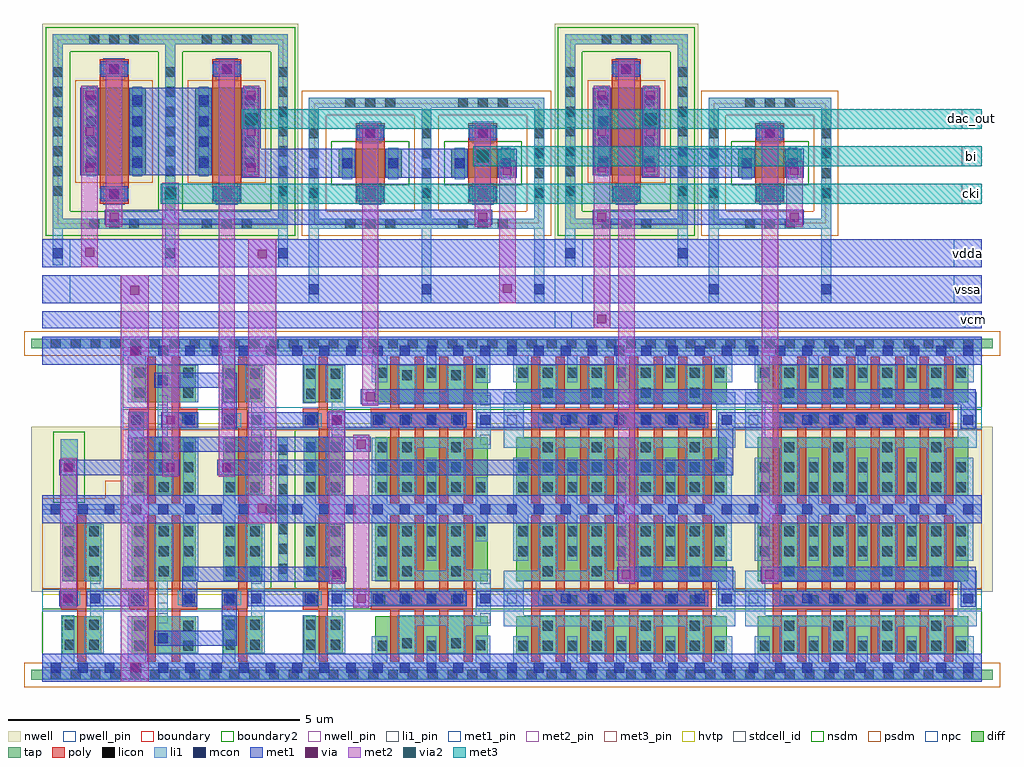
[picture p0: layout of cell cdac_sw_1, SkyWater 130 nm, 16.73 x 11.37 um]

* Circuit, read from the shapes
.subckt cdac_sw_1 bi cki dac_out vcm vdda vssa
XM1 nooverlap_clk_0/sky130_fd_sc_hd__nand2_1_1/B cki vssa vssa sky130_fd_pr__nfet_01v8 w=0.65 l=0.15
XM2 n1 nooverlap_clk_0/sky130_fd_sc_hd__nand2_1_1/B vssa vssa sky130_fd_pr__nfet_01v8 w=0.65 l=0.15
XM3 n2 nooverlap_clk_0/sky130_fd_sc_hd__inv_4_8/A vssa vssa sky130_fd_pr__nfet_01v8 w=0.65 l=0.15
XM4 nooverlap_clk_0/sky130_fd_sc_hd__inv_1_4/A nooverlap_clk_0/sky130_fd_sc_hd__inv_4_7/A n1 vssa sky130_fd_pr__nfet_01v8 w=0.65 l=0.15
XM5 nooverlap_clk_0/sky130_fd_sc_hd__inv_1_3/A cki n2 vssa sky130_fd_pr__nfet_01v8 w=0.65 l=0.15
XM6 nooverlap_clk_0/sky130_fd_sc_hd__inv_1_6/A nooverlap_clk_0/sky130_fd_sc_hd__inv_1_4/A vssa vssa sky130_fd_pr__nfet_01v8 w=0.65 l=0.15
XM7 nooverlap_clk_0/sky130_fd_sc_hd__inv_1_5/A nooverlap_clk_0/sky130_fd_sc_hd__inv_1_3/A vssa vssa sky130_fd_pr__nfet_01v8 w=0.65 l=0.15
XM8 nooverlap_clk_0/sky130_fd_sc_hd__inv_4_8/A nooverlap_clk_0/sky130_fd_sc_hd__inv_1_6/A vssa vssa sky130_fd_pr__nfet_01v8 w=0.65 l=0.15
XM9 nooverlap_clk_0/sky130_fd_sc_hd__inv_4_7/A nooverlap_clk_0/sky130_fd_sc_hd__inv_1_5/A vssa vssa sky130_fd_pr__nfet_01v8 w=0.65 l=0.15
XM10 n3 dac_sw_1_1/ck dac_out vssa sky130_fd_pr__nfet_01v8 w=0.5 l=0.5
XM11 nooverlap_clk_0/sky130_fd_sc_hd__inv_8_10/A nooverlap_clk_0/sky130_fd_sc_hd__inv_4_8/A vssa vssa sky130_fd_pr__nfet_01v8 w=0.65 l=0.15 m=4
XM12 nooverlap_clk_0/sky130_fd_sc_hd__inv_8_9/A nooverlap_clk_0/sky130_fd_sc_hd__inv_4_7/A vssa vssa sky130_fd_pr__nfet_01v8 w=0.65 l=0.15 m=4
XM13 vssa bi n3 vssa sky130_fd_pr__nfet_01v8 w=0.5 l=0.5
XM14 nooverlap_clk_0/clkb1 nooverlap_clk_0/sky130_fd_sc_hd__inv_8_10/A vssa vssa sky130_fd_pr__nfet_01v8 w=0.65 l=0.15 m=8
XM15 dac_sw_1_1/ckb nooverlap_clk_0/sky130_fd_sc_hd__inv_8_9/A vssa vssa sky130_fd_pr__nfet_01v8 w=0.65 l=0.15 m=8
XM16 vcm nooverlap_clk_0/clk1 dac_out vssa sky130_fd_pr__nfet_01v8 w=0.5 l=0.5
XM17 nooverlap_clk_0/clk1 nooverlap_clk_0/clkb1 vssa vssa sky130_fd_pr__nfet_01v8 w=0.65 l=0.15 m=8
XM18 dac_sw_1_1/ck dac_sw_1_1/ckb vssa vssa sky130_fd_pr__nfet_01v8 w=0.65 l=0.15 m=8
XM19 nooverlap_clk_0/sky130_fd_sc_hd__nand2_1_1/B cki vdda vdda sky130_fd_pr__pfet_01v8_hvt w=1 l=0.15
XM20 n4 bi vdda vdda sky130_fd_pr__pfet_01v8 w=1.5 l=0.5
XM21 nooverlap_clk_0/sky130_fd_sc_hd__inv_1_4/A nooverlap_clk_0/sky130_fd_sc_hd__nand2_1_1/B vdda vdda sky130_fd_pr__pfet_01v8_hvt w=1 l=0.15
XM22 nooverlap_clk_0/sky130_fd_sc_hd__inv_1_3/A nooverlap_clk_0/sky130_fd_sc_hd__inv_4_8/A vdda vdda sky130_fd_pr__pfet_01v8_hvt w=1 l=0.15
XM23 vdda nooverlap_clk_0/sky130_fd_sc_hd__inv_4_7/A nooverlap_clk_0/sky130_fd_sc_hd__inv_1_4/A vdda sky130_fd_pr__pfet_01v8_hvt w=1 l=0.15
XM24 vdda cki nooverlap_clk_0/sky130_fd_sc_hd__inv_1_3/A vdda sky130_fd_pr__pfet_01v8_hvt w=1 l=0.15
XM25 dac_out dac_sw_1_1/ckb n4 vdda sky130_fd_pr__pfet_01v8 w=1.5 l=0.5
XM26 nooverlap_clk_0/sky130_fd_sc_hd__inv_1_6/A nooverlap_clk_0/sky130_fd_sc_hd__inv_1_4/A vdda vdda sky130_fd_pr__pfet_01v8_hvt w=1 l=0.15
XM27 nooverlap_clk_0/sky130_fd_sc_hd__inv_1_5/A nooverlap_clk_0/sky130_fd_sc_hd__inv_1_3/A vdda vdda sky130_fd_pr__pfet_01v8_hvt w=1 l=0.15
XM28 nooverlap_clk_0/sky130_fd_sc_hd__inv_4_8/A nooverlap_clk_0/sky130_fd_sc_hd__inv_1_6/A vdda vdda sky130_fd_pr__pfet_01v8_hvt w=1 l=0.15
XM29 nooverlap_clk_0/sky130_fd_sc_hd__inv_4_7/A nooverlap_clk_0/sky130_fd_sc_hd__inv_1_5/A vdda vdda sky130_fd_pr__pfet_01v8_hvt w=1 l=0.15
XM30 nooverlap_clk_0/sky130_fd_sc_hd__inv_8_10/A nooverlap_clk_0/sky130_fd_sc_hd__inv_4_8/A vdda vdda sky130_fd_pr__pfet_01v8_hvt w=1 l=0.15 m=4
XM31 nooverlap_clk_0/sky130_fd_sc_hd__inv_8_9/A nooverlap_clk_0/sky130_fd_sc_hd__inv_4_7/A vdda vdda sky130_fd_pr__pfet_01v8_hvt w=1 l=0.15 m=4
XM32 nooverlap_clk_0/clkb1 nooverlap_clk_0/sky130_fd_sc_hd__inv_8_10/A vdda vdda sky130_fd_pr__pfet_01v8_hvt w=1 l=0.15 m=8
XM33 dac_sw_1_1/ckb nooverlap_clk_0/sky130_fd_sc_hd__inv_8_9/A vdda vdda sky130_fd_pr__pfet_01v8_hvt w=1 l=0.15 m=8
XM34 dac_out nooverlap_clk_0/clkb1 vcm vdda sky130_fd_pr__pfet_01v8 w=1.5 l=0.5
XM35 nooverlap_clk_0/clk1 nooverlap_clk_0/clkb1 vdda vdda sky130_fd_pr__pfet_01v8_hvt w=1 l=0.15 m=8
XM36 dac_sw_1_1/ck dac_sw_1_1/ckb vdda vdda sky130_fd_pr__pfet_01v8_hvt w=1 l=0.15 m=8
.ends

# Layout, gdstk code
import gdstk
lib = gdstk.Library(unit=1e-6, precision=1e-09)
def R(c, l, rs):  # rectangles x0, y0, x1, y1
    for r in rs: c.add(gdstk.rectangle(r[:2], r[2:], *l))
def A(c, l, x, y, w, h, nx, ny, dx, dy):  # array of equal rectangles
    R(c, l, [(x+i*dx, y+j*dy, x+i*dx+w, y+j*dy+h) for i in range(nx) for j in range(ny)])
def P(c, l, *ps):  # polygons
    for p in ps: c.add(gdstk.Polygon(p, *l))
nwell_pin = (64, 16)
nwell = (64, 20)
diff = (65, 20)
tap = (65, 44)
poly = (66, 20)
licon = (66, 44)
li1_pin = (67, 16)
li1 = (67, 20)
mcon = (67, 44)
met1_pin = (68, 16)
met1 = (68, 20)
via = (68, 44)
met2_pin = (69, 16)
met2 = (69, 20)
via2 = (69, 44)
met3_pin = (70, 16)
met3 = (70, 20)
hvtp = (78, 44)
stdcell_id = (81, 4)
nsdm = (93, 44)
psdm = (94, 20)
npc = (95, 20)
pwell_pin = (122, 16)
boundary = (235, 4)
boundary2 = (236, 0)

sky130_fd_sc_hd__nand2_1 = lib.new_cell('sky130_fd_sc_hd__nand2_1')
R(sky130_fd_sc_hd__nand2_1, nwell_pin, [(0.14,2.635,0.31,2.805)])
R(sky130_fd_sc_hd__nand2_1, nwell, [(-0.19,1.305,1.57,2.91)])
R(sky130_fd_sc_hd__nand2_1, diff, [(0.155,0.235,1.245,0.885), (0.155,1.485,1.245,2.485)])
P(sky130_fd_sc_hd__nand2_1, poly, [(1.275,1.325),(0.985,1.325),(0.985,2.615),(0.835,2.615),(0.835,0.105),(0.985,0.105),(0.985,0.995),(1.275,0.995)],
  [(0.565,2.615),(0.415,2.615),(0.415,1.325),(0.105,1.325),(0.105,0.995),(0.415,0.995),(0.415,0.105),(0.565,0.105)])
A(sky130_fd_sc_hd__nand2_1, licon, 0.195, 1.575, 0.17, 0.17, 3, 3, 0.42, 0.34)
R(sky130_fd_sc_hd__nand2_1, licon, [(0.195,0.295,0.365,0.465), (1.035,0.295,1.205,0.465), (0.195,0.635,0.365,0.805), (1.035,0.635,1.205,0.805), (0.18,1.075,0.35,1.245), (1.02,1.075,1.19,1.245)])
A(sky130_fd_sc_hd__nand2_1, li1_pin, 0.14, 1.105, 0.17, 0.17, 3, 1, 0.46, 0)
R(sky130_fd_sc_hd__nand2_1, li1_pin, [(0.6,0.425,0.77,0.595), (0.6,0.765,0.77,0.935)])
R(sky130_fd_sc_hd__nand2_1, li1, [(0.095,1.055,0.43,1.325), (0.94,1.075,1.275,1.325)])
P(sky130_fd_sc_hd__nand2_1, li1, [(1.38,0.085),(0.395,0.085),(0.395,0.885),(0.085,0.885),(0.085,0.085),(0,0.085),(0,-0.085),(1.38,-0.085)],
  [(1.38,2.805),(0,2.805),(0,2.635),(0.085,2.635),(0.085,1.495),(0.365,1.495),(0.365,2.635),(1.035,2.635),(1.035,1.495),(1.295,1.495),(1.295,2.635),(1.38,2.635)],
  [(1.295,0.885),(0.77,0.885),(0.77,1.485),(0.865,1.485),(0.865,2.465),(0.535,2.465),(0.535,1.485),(0.6,1.485),(0.6,0.255),(1.295,0.255)])
A(sky130_fd_sc_hd__nand2_1, mcon, 0.145, -0.085, 0.17, 0.17, 3, 2, 0.46, 2.72)
R(sky130_fd_sc_hd__nand2_1, met1_pin, [(0.14,-0.085,0.31,0.085), (0.14,2.635,0.31,2.805)])
R(sky130_fd_sc_hd__nand2_1, hvtp, [(0,1.25,1.38,2.72)])
R(sky130_fd_sc_hd__nand2_1, stdcell_id, [(0,0,1.38,2.72)])
R(sky130_fd_sc_hd__nand2_1, nsdm, [(0,-0.19,1.38,1.015)])
R(sky130_fd_sc_hd__nand2_1, psdm, [(0,1.355,1.38,2.91)])
R(sky130_fd_sc_hd__nand2_1, npc, [(0,0.975,1.38,1.345)])
R(sky130_fd_sc_hd__nand2_1, pwell_pin, [(0.14,-0.085,0.31,0.085)])
R(sky130_fd_sc_hd__nand2_1, boundary2, [(0,0,1.38,2.72)])
sky130_fd_sc_hd__nand2_1.add(gdstk.FlexPath([(0,2.72),(1.38,2.72)], 0.48, ends="flush", simple_path=True, layer=68, datatype=20))  # met1
sky130_fd_sc_hd__nand2_1.add(gdstk.FlexPath([(0,0),(1.38,0)], 0.48, ends="flush", simple_path=True, layer=68, datatype=20))  # met1
sky130_fd_sc_hd__nand2_1.add(gdstk.Label('Y', (0.685,0.51), layer=67, texttype=5))
sky130_fd_sc_hd__nand2_1.add(gdstk.Label('Y', (0.685,0.85), layer=67, texttype=5))
sky130_fd_sc_hd__nand2_1.add(gdstk.Label('Y', (0.685,1.19), layer=67, texttype=5))
sky130_fd_sc_hd__nand2_1.add(gdstk.Label('B', (0.225,1.19), layer=67, texttype=5))
sky130_fd_sc_hd__nand2_1.add(gdstk.Label('A', (1.145,1.19), layer=67, texttype=5))
sky130_fd_sc_hd__nand2_1.add(gdstk.Label('VPB', (0.225,2.72), layer=64, texttype=5))
sky130_fd_sc_hd__nand2_1.add(gdstk.Label('VNB', (0.225,0), layer=64, texttype=59))
sky130_fd_sc_hd__nand2_1.add(gdstk.Label('VGND', (0.23,0), layer=68, texttype=5))
sky130_fd_sc_hd__nand2_1.add(gdstk.Label('VPWR', (0.225,2.72), layer=68, texttype=5))
sky130_fd_sc_hd__nand2_1.add(gdstk.Label('nand2_1', (0,0), layer=83, texttype=44))

sky130_fd_sc_hd__inv_1 = lib.new_cell('sky130_fd_sc_hd__inv_1')
R(sky130_fd_sc_hd__inv_1, nwell_pin, [(0.145,2.635,0.315,2.805), (0.145,2.635,0.315,2.805)])
R(sky130_fd_sc_hd__inv_1, nwell, [(-0.19,1.305,1.57,2.91)])
R(sky130_fd_sc_hd__inv_1, diff, [(0.34,0.235,1.01,0.885), (0.34,1.485,1.01,2.485)])
P(sky130_fd_sc_hd__inv_1, poly, [(0.75,2.615),(0.6,2.615),(0.6,1.325),(0.32,1.325),(0.32,0.995),(0.6,0.995),(0.6,0.105),(0.75,0.105)])
A(sky130_fd_sc_hd__inv_1, licon, 0.38, 1.575, 0.17, 0.17, 1, 3, 0, 0.34)
A(sky130_fd_sc_hd__inv_1, licon, 0.8, 1.575, 0.17, 0.17, 1, 3, 0, 0.34)
R(sky130_fd_sc_hd__inv_1, licon, [(0.38,0.315,0.55,0.485), (0.8,0.315,0.97,0.485), (0.38,0.655,0.55,0.825), (0.8,0.655,0.97,0.825), (0.4,1.075,0.57,1.245)])
R(sky130_fd_sc_hd__inv_1, li1_pin, [(0.36,1.105,0.53,1.275), (0.82,1.105,0.99,1.275), (0.82,1.445,0.99,1.615)])
R(sky130_fd_sc_hd__inv_1, li1, [(0,-0.085,1.38,0.085), (0.32,0.005,0.55,0.905), (0.32,1.075,0.65,1.315), (0.34,1.495,0.55,2.675), (0,2.635,1.38,2.805)])
P(sky130_fd_sc_hd__inv_1, li1, [(1.05,2.465),(0.72,2.465),(0.72,1.485),(0.82,1.485),(0.82,0.885),(0.72,0.885),(0.72,0.255),(1.05,0.255)])
A(sky130_fd_sc_hd__inv_1, mcon, 0.145, -0.085, 0.17, 0.17, 3, 2, 0.46, 2.72)
R(sky130_fd_sc_hd__inv_1, met1_pin, [(0.145,-0.085,0.315,0.085), (0.145,-0.085,0.315,0.085), (0.145,2.635,0.315,2.805), (0.145,2.635,0.315,2.805)])
R(sky130_fd_sc_hd__inv_1, hvtp, [(0,1.25,1.38,2.72)])
R(sky130_fd_sc_hd__inv_1, stdcell_id, [(0,0,1.38,2.72)])
R(sky130_fd_sc_hd__inv_1, nsdm, [(0,-0.19,1.38,1.015)])
R(sky130_fd_sc_hd__inv_1, psdm, [(0,1.355,1.38,2.91)])
R(sky130_fd_sc_hd__inv_1, npc, [(0,0.975,1.38,1.345)])
R(sky130_fd_sc_hd__inv_1, pwell_pin, [(0.145,-0.085,0.315,0.085), (0.145,-0.085,0.315,0.085)])
R(sky130_fd_sc_hd__inv_1, boundary2, [(0,0,1.38,2.72)])
sky130_fd_sc_hd__inv_1.add(gdstk.FlexPath([(0,2.72),(1.38,2.72)], 0.48, ends="flush", simple_path=True, layer=68, datatype=20))  # met1
sky130_fd_sc_hd__inv_1.add(gdstk.FlexPath([(0,0),(1.38,0)], 0.48, ends="flush", simple_path=True, layer=68, datatype=20))  # met1
sky130_fd_sc_hd__inv_1.add(gdstk.Label('Y', (0.905,1.53), layer=67, texttype=5))
sky130_fd_sc_hd__inv_1.add(gdstk.Label('Y', (0.905,1.19), layer=67, texttype=5))
sky130_fd_sc_hd__inv_1.add(gdstk.Label('A', (0.445,1.19), layer=67, texttype=5))
sky130_fd_sc_hd__inv_1.add(gdstk.Label('VPB', (0.23,2.72), layer=64, texttype=5))
sky130_fd_sc_hd__inv_1.add(gdstk.Label('VNB', (0.23,0), layer=64, texttype=59))
sky130_fd_sc_hd__inv_1.add(gdstk.Label('VGND', (0.23,0), layer=68, texttype=5))
sky130_fd_sc_hd__inv_1.add(gdstk.Label('VPWR', (0.23,2.72), layer=68, texttype=5))
sky130_fd_sc_hd__inv_1.add(gdstk.Label('inv_1', (0,0), layer=83, texttype=44))

sky130_fd_sc_hd__inv_4 = lib.new_cell('sky130_fd_sc_hd__inv_4')
R(sky130_fd_sc_hd__inv_4, nwell_pin, [(0.145,2.635,0.315,2.805)])
R(sky130_fd_sc_hd__inv_4, nwell, [(-0.19,1.305,2.49,2.91)])
R(sky130_fd_sc_hd__inv_4, diff, [(0.185,0.235,2.115,0.885), (0.185,1.485,2.115,2.485)])
P(sky130_fd_sc_hd__inv_4, poly, [(1.855,2.615),(1.705,2.615),(1.705,1.325),(1.435,1.325),(1.435,2.615),(1.285,2.615),(1.285,1.325),(1.015,1.325),(1.015,2.615),(0.865,2.615),(0.865,1.325),(0.595,1.325),(0.595,2.615),(0.445,2.615),(0.445,1.325),(0.105,1.325),(0.105,0.995),(0.445,0.995),(0.445,0.105),(0.595,0.105),(0.595,0.995),(0.865,0.995),(0.865,0.105),(1.015,0.105),(1.015,0.995),(1.285,0.995),(1.285,0.105),(1.435,0.105),(1.435,0.995),(1.705,0.995),(1.705,0.105),(1.855,0.105)])
A(sky130_fd_sc_hd__inv_4, licon, 0.645, 1.075, 0.17, 0.17, 3, 1, 0.42, 0)
A(sky130_fd_sc_hd__inv_4, licon, 0.225, 1.915, 0.17, 0.17, 4, 1, 0.42, 0)
A(sky130_fd_sc_hd__inv_4, licon, 0.225, 2.255, 0.17, 0.17, 5, 1, 0.42, 0)
R(sky130_fd_sc_hd__inv_4, licon, [(0.225,0.295,0.395,0.465), (1.065,0.295,1.235,0.465), (1.905,0.3,2.075,0.47), (0.645,0.335,0.815,0.505), (1.485,0.335,1.655,0.505), (0.185,1.075,0.355,1.245), (0.225,1.575,0.395,1.745), (0.645,1.575,0.815,1.745), (1.485,1.575,1.655,1.745)])
A(sky130_fd_sc_hd__inv_4, li1_pin, 0.145, 1.105, 0.17, 0.17, 5, 1, 0.46, 0)
R(sky130_fd_sc_hd__inv_4, li1_pin, [(1.985,0.765,2.155,0.935), (1.985,1.445,2.155,1.615)])
R(sky130_fd_sc_hd__inv_4, li1, [(0.105,1.075,1.735,1.325)])
P(sky130_fd_sc_hd__inv_4, li1, [(2.3,0.085),(2.155,0.085),(2.155,0.55),(1.905,0.55),(1.905,0.085),(1.235,0.085),(1.235,0.545),(1.065,0.545),(1.065,0.085),(0.395,0.085),(0.395,0.545),(0.13,0.545),(0.13,0.085),(0,0.085),(0,-0.085),(2.3,-0.085)],
  [(2.3,2.805),(0,2.805),(0,2.635),(0.13,2.635),(0.13,1.495),(0.395,1.495),(0.395,2.635),(1.065,2.635),(1.065,1.835),(1.235,1.835),(1.235,2.635),(1.905,2.635),(1.905,2.175),(2.115,2.175),(2.115,2.635),(2.3,2.635)],
  [(2.17,1.685),(1.735,1.685),(1.735,2.465),(1.405,2.465),(1.405,1.665),(0.895,1.665),(0.895,2.465),(0.565,2.465),(0.565,1.495),(1.905,1.495),(1.905,0.905),(0.565,0.905),(0.565,0.255),(0.895,0.255),(0.895,0.725),(1.405,0.725),(1.405,0.255),(1.735,0.255),(1.735,0.725),(2.17,0.725)])
A(sky130_fd_sc_hd__inv_4, mcon, 0.145, -0.085, 0.17, 0.17, 5, 2, 0.46, 2.72)
R(sky130_fd_sc_hd__inv_4, met1_pin, [(0.145,-0.085,0.315,0.085), (0.145,2.635,0.315,2.805)])
R(sky130_fd_sc_hd__inv_4, hvtp, [(0,1.25,2.3,2.72)])
R(sky130_fd_sc_hd__inv_4, stdcell_id, [(0,0,2.3,2.72)])
R(sky130_fd_sc_hd__inv_4, nsdm, [(0,-0.19,2.3,1.015)])
R(sky130_fd_sc_hd__inv_4, psdm, [(0,1.355,2.3,2.91)])
R(sky130_fd_sc_hd__inv_4, npc, [(0,0.975,2.3,1.345)])
R(sky130_fd_sc_hd__inv_4, pwell_pin, [(0.145,-0.085,0.315,0.085)])
R(sky130_fd_sc_hd__inv_4, boundary2, [(0,0,2.3,2.72)])
sky130_fd_sc_hd__inv_4.add(gdstk.FlexPath([(0,2.72),(2.3,2.72)], 0.48, ends="flush", simple_path=True, layer=68, datatype=20))  # met1
sky130_fd_sc_hd__inv_4.add(gdstk.FlexPath([(0,0),(2.3,0)], 0.48, ends="flush", simple_path=True, layer=68, datatype=20))  # met1
sky130_fd_sc_hd__inv_4.add(gdstk.Label('Y', (2.07,0.85), layer=67, texttype=5))
sky130_fd_sc_hd__inv_4.add(gdstk.Label('Y', (2.07,1.19), layer=67, texttype=5))
sky130_fd_sc_hd__inv_4.add(gdstk.Label('Y', (2.07,1.53), layer=67, texttype=5))
sky130_fd_sc_hd__inv_4.add(gdstk.Label('A', (0.23,1.19), layer=67, texttype=5))
sky130_fd_sc_hd__inv_4.add(gdstk.Label('A', (0.69,1.19), layer=67, texttype=5))
sky130_fd_sc_hd__inv_4.add(gdstk.Label('A', (1.15,1.19), layer=67, texttype=5))
sky130_fd_sc_hd__inv_4.add(gdstk.Label('A', (1.61,1.19), layer=67, texttype=5))
sky130_fd_sc_hd__inv_4.add(gdstk.Label('VPB', (0.23,2.72), layer=64, texttype=5))
sky130_fd_sc_hd__inv_4.add(gdstk.Label('VNB', (0.23,0), layer=64, texttype=59))
sky130_fd_sc_hd__inv_4.add(gdstk.Label('VPWR', (0.23,2.72), layer=68, texttype=5))
sky130_fd_sc_hd__inv_4.add(gdstk.Label('VGND', (0.23,0), layer=68, texttype=5))
sky130_fd_sc_hd__inv_4.add(gdstk.Label('inv_4', (0,0), layer=83, texttype=44))

sky130_fd_sc_hd__inv_8 = lib.new_cell('sky130_fd_sc_hd__inv_8')
R(sky130_fd_sc_hd__inv_8, nwell_pin, [(0.145,2.635,0.315,2.805)])
R(sky130_fd_sc_hd__inv_8, nwell, [(-0.19,1.305,4.33,2.91)])
R(sky130_fd_sc_hd__inv_8, diff, [(0.3,0.235,3.91,0.885), (0.3,1.485,3.91,2.485)])
P(sky130_fd_sc_hd__inv_8, poly, [(3.65,2.615),(3.5,2.615),(3.5,1.325),(3.23,1.325),(3.23,2.615),(3.08,2.615),(3.08,1.325),(2.81,1.325),(2.81,2.615),(2.66,2.615),(2.66,1.325),(2.39,1.325),(2.39,2.615),(2.24,2.615),(2.24,1.325),(1.97,1.325),(1.97,2.615),(1.82,2.615),(1.82,1.325),(1.55,1.325),(1.55,2.615),(1.4,2.615),(1.4,1.325),(1.13,1.325),(1.13,2.615),(0.98,2.615),(0.98,1.325),(0.71,1.325),(0.71,2.615),(0.56,2.615),(0.56,0.105),(0.71,0.105),(0.71,0.995),(0.98,0.995),(0.98,0.105),(1.13,0.105),(1.13,0.995),(1.4,0.995),(1.4,0.105),(1.55,0.105),(1.55,0.995),(1.82,0.995),(1.82,0.105),(1.97,0.105),(1.97,0.995),(2.24,0.995),(2.24,0.105),(2.39,0.105),(2.39,0.995),(2.66,0.995),(2.66,0.105),(2.81,0.105),(2.81,0.995),(3.08,0.995),(3.08,0.105),(3.23,0.105),(3.23,0.995),(3.5,0.995),(3.5,0.105),(3.65,0.105)])
A(sky130_fd_sc_hd__inv_8, licon, 0.34, 0.295, 0.17, 0.17, 9, 2, 0.42, 1.62)
A(sky130_fd_sc_hd__inv_8, licon, 0.76, 0.635, 0.17, 0.17, 4, 2, 0.84, 0.94)
A(sky130_fd_sc_hd__inv_8, licon, 0.76, 1.075, 0.17, 0.17, 7, 1, 0.42, 0)
A(sky130_fd_sc_hd__inv_8, licon, 0.34, 2.255, 0.17, 0.17, 9, 1, 0.42, 0)
A(sky130_fd_sc_hd__inv_8, li1_pin, 1.065, 1.105, 0.17, 0.17, 7, 1, 0.46, 0)
R(sky130_fd_sc_hd__inv_8, li1_pin, [(0.145,1.105,0.315,1.275)])
R(sky130_fd_sc_hd__inv_8, li1, [(0.68,1.075,3.535,1.325)])
P(sky130_fd_sc_hd__inv_8, li1, [(4.055,1.665),(3.735,1.665),(3.735,0.905),(0.43,0.905),(0.43,1.495),(3.735,1.495),(3.735,1.665),(3.53,1.665),(3.53,2.465),(3.2,2.465),(3.2,1.665),(2.69,1.665),(2.69,2.465),(2.36,2.465),(2.36,1.665),(1.85,1.665),(1.85,2.465),(1.52,2.465),(1.52,1.665),(1.01,1.665),(1.01,2.465),(0.68,2.465),(0.68,1.665),(0.085,1.665),(0.085,0.715),(0.68,0.715),(0.68,0.255),(1.01,0.255),(1.01,0.715),(1.52,0.715),(1.52,0.255),(1.85,0.255),(1.85,0.715),(2.36,0.715),(2.36,0.255),(2.69,0.255),(2.69,0.715),(3.2,0.715),(3.2,0.255),(3.53,0.255),(3.53,0.715),(4.055,0.715)],
  [(4.14,0.085),(4.005,0.085),(4.005,0.545),(3.7,0.545),(3.7,0.085),(3.03,0.085),(3.03,0.545),(2.86,0.545),(2.86,0.085),(2.19,0.085),(2.19,0.545),(2.02,0.545),(2.02,0.085),(1.35,0.085),(1.35,0.545),(1.18,0.545),(1.18,0.085),(0.51,0.085),(0.51,0.545),(0.255,0.545),(0.255,0.085),(0,0.085),(0,-0.085),(4.14,-0.085)],
  [(4.14,2.805),(0,2.805),(0,2.635),(0.255,2.635),(0.255,1.835),(0.51,1.835),(0.51,2.635),(1.18,2.635),(1.18,1.835),(1.35,1.835),(1.35,2.635),(2.02,2.635),(2.02,1.835),(2.19,1.835),(2.19,2.635),(2.86,2.635),(2.86,1.835),(3.03,1.835),(3.03,2.635),(3.7,2.635),(3.7,1.835),(4,1.835),(4,2.635),(4.14,2.635)])
A(sky130_fd_sc_hd__inv_8, mcon, 0.145, -0.085, 0.17, 0.17, 9, 2, 0.46, 2.72)
R(sky130_fd_sc_hd__inv_8, met1_pin, [(0.145,-0.085,0.315,0.085), (0.145,2.635,0.315,2.805)])
R(sky130_fd_sc_hd__inv_8, hvtp, [(0,1.25,4.14,2.72)])
R(sky130_fd_sc_hd__inv_8, stdcell_id, [(0,0,4.14,2.72)])
R(sky130_fd_sc_hd__inv_8, nsdm, [(0,-0.19,4.14,1.015)])
R(sky130_fd_sc_hd__inv_8, psdm, [(0,1.355,4.14,2.91)])
R(sky130_fd_sc_hd__inv_8, npc, [(0,0.975,4.14,1.345)])
R(sky130_fd_sc_hd__inv_8, pwell_pin, [(0.145,-0.085,0.315,0.085)])
R(sky130_fd_sc_hd__inv_8, boundary2, [(0,0,4.14,2.72)])
sky130_fd_sc_hd__inv_8.add(gdstk.FlexPath([(0,2.72),(4.14,2.72)], 0.48, ends="flush", simple_path=True, layer=68, datatype=20))  # met1
sky130_fd_sc_hd__inv_8.add(gdstk.FlexPath([(0,0),(4.14,0)], 0.48, ends="flush", simple_path=True, layer=68, datatype=20))  # met1
sky130_fd_sc_hd__inv_8.add(gdstk.Label('A', (1.15,1.19), layer=67, texttype=5))
sky130_fd_sc_hd__inv_8.add(gdstk.Label('A', (1.61,1.19), layer=67, texttype=5))
sky130_fd_sc_hd__inv_8.add(gdstk.Label('A', (2.07,1.19), layer=67, texttype=5))
sky130_fd_sc_hd__inv_8.add(gdstk.Label('A', (2.53,1.19), layer=67, texttype=5))
sky130_fd_sc_hd__inv_8.add(gdstk.Label('A', (2.99,1.19), layer=67, texttype=5))
sky130_fd_sc_hd__inv_8.add(gdstk.Label('A', (3.45,1.19), layer=67, texttype=5))
sky130_fd_sc_hd__inv_8.add(gdstk.Label('Y', (3.91,1.19), layer=67, texttype=5))
sky130_fd_sc_hd__inv_8.add(gdstk.Label('Y', (0.23,1.19), layer=67, texttype=5))
sky130_fd_sc_hd__inv_8.add(gdstk.Label('VNB', (0.23,0), layer=64, texttype=59))
sky130_fd_sc_hd__inv_8.add(gdstk.Label('VPB', (0.23,2.72), layer=64, texttype=5))
sky130_fd_sc_hd__inv_8.add(gdstk.Label('VGND', (0.23,0), layer=68, texttype=5))
sky130_fd_sc_hd__inv_8.add(gdstk.Label('VPWR', (0.23,2.72), layer=68, texttype=5))
sky130_fd_sc_hd__inv_8.add(gdstk.Label('inv_8', (0,0), layer=83, texttype=44))

nooverlap_clk = lib.new_cell('nooverlap_clk')
R(nooverlap_clk, nwell, [(-2.81,-2.365,13.67,0.445), (-2.81,0.445,0.035,0.46), (0.065,0.445,13.67,0.46)])
R(nooverlap_clk, tap, [(-2.81,-3.88,13.67,-3.71), (1.42,-2.19,1.59,0.28), (-2.305,-0.715,-2.015,0.245), (-2.81,1.8,13.67,1.97)])
A(nooverlap_clk, licon, -2.475, -3.88, 0.17, 0.17, 47, 2, 0.34, 5.68)
A(nooverlap_clk, licon, 1.42, -2.06, 0.17, 0.17, 1, 7, 0, 0.34)
R(nooverlap_clk, licon, [(-2.245,-0.315,-2.075,-0.145)])
A(nooverlap_clk, li1, 3.045, -2.57, 0.17, 0.17, 5, 2, 0.46, 3.06)
A(nooverlap_clk, li1, 6.265, -2.57, 0.17, 0.17, 7, 2, 0.46, 3.06)
A(nooverlap_clk, li1, 10.405, -2.57, 0.17, 0.17, 7, 2, 0.46, 3.06)
R(nooverlap_clk, li1, [(-2.62,-3.88,13.48,-3.71), (-0.64,-3.25,-0.47,-3.08), (-2.26,-2.57,-2.09,-2.4), (-1.8,-2.57,-1.63,-2.4), (-1.1,-2.57,-0.93,-2.4), (-0.18,-2.57,-0.01,-2.4), (0.5,-2.57,0.67,-2.4), (0.96,-2.57,1.13,-2.4), (1.88,-2.57,2.05,-2.4), (2.34,-2.57,2.51,-2.4), (1.42,-2.19,1.59,0.28), (-2.305,-0.91,-2.015,0.245), (-1.1,0.49,-0.93,0.66), (-0.18,0.49,-0.01,0.66), (0.5,0.49,0.67,0.66), (0.96,0.49,1.13,0.66), (1.88,0.49,2.05,0.66), (2.34,0.49,2.51,0.66), (-0.64,1.17,-0.47,1.34), (-2.62,1.8,13.48,1.97)])
A(nooverlap_clk, mcon, 3.045, -2.57, 0.17, 0.17, 5, 2, 0.46, 3.06)
A(nooverlap_clk, mcon, 6.265, -2.57, 0.17, 0.17, 7, 2, 0.46, 3.06)
A(nooverlap_clk, mcon, 10.405, -2.57, 0.17, 0.17, 7, 2, 0.46, 3.06)
R(nooverlap_clk, mcon, [(-0.64,-3.25,-0.47,-3.08), (-2.26,-2.57,-2.09,-2.4), (-1.8,-2.57,-1.63,-2.4), (-1.1,-2.57,-0.93,-2.4), (-0.18,-2.57,-0.01,-2.4), (0.5,-2.57,0.67,-2.4), (0.96,-2.57,1.13,-2.4), (1.88,-2.57,2.05,-2.4), (2.34,-2.57,2.51,-2.4), (-1.1,0.49,-0.93,0.66), (-0.18,0.49,-0.01,0.66), (0.5,0.49,0.67,0.66), (0.96,0.49,1.13,0.66), (1.88,0.49,2.05,0.66), (2.34,0.49,2.51,0.66), (-0.64,1.17,-0.47,1.34)])
R(nooverlap_clk, met1, [(-1.275,-3.885,-0.795,-3.435), (-0.7,-3.295,0.715,-3.035), (0.455,-3.035,0.715,-2.34), (-0.225,-2.63,0.035,-2.2), (13.12,-2.63,13.38,-2.2), (-2.335,-2.615,-2.015,-2.355), (-1.86,-2.615,-0.87,-2.355), (0.9,-2.615,2.11,-2.355), (2.28,-2.615,4.655,-2.355), (4.825,-2.615,8.795,-2.355), (8.965,-2.615,12.935,-2.355), (8.965,-2.355,9.225,-2.2), (-0.225,-2.2,2.585,-1.94), (7.23,-2.2,9.225,-1.94), (9.69,-2.2,13.38,-1.94), (0.91,-1.165,1.39,-0.715), (-2.335,-0.37,-0.265,-0.11), (0.38,-0.37,9.225,-0.11), (8.965,-0.11,9.225,0.445), (-1.145,0.03,3.005,0.29), (-1.145,0.29,-0.885,0.72), (13.12,0.425,13.38,0.845), (0.455,0.43,0.715,1.125), (-0.585,0.445,0.05,0.705), (0.9,0.445,2.11,0.705), (2.265,0.445,4.655,0.705), (4.825,0.445,8.795,0.705), (8.965,0.445,12.935,0.705), (2.84,0.845,13.38,1.105), (-0.7,1.125,0.715,1.385), (-2.62,1.525,-0.795,1.975), (-2.62,1.975,-1.24,2.005)])
R(nooverlap_clk, via, [(-1.11,-3.735,-0.96,-3.585), (-2.25,-2.56,-2.1,-2.41), (2.77,-2.56,2.92,-2.41), (2.35,-2.145,2.5,-1.995), (7.315,-2.145,7.465,-1.995), (9.775,-2.145,9.925,-1.995), (1.075,-1.015,1.225,-0.865), (-2.25,-0.315,-2.1,-0.165), (-0.5,-0.315,-0.35,-0.165), (0.465,-0.315,0.615,-0.165), (2.77,0.085,2.92,0.235), (-0.5,0.5,-0.35,0.65), (2.35,0.5,2.5,0.65), (2.925,0.9,3.075,1.05), (-1.11,1.675,-0.96,1.825)])
R(nooverlap_clk, met2_pin, [(-1.275,1.525,-0.795,2.005), (0.91,1.525,1.39,2.005), (-0.565,1.725,-0.285,2.005), (0.4,1.725,0.68,2.005), (2.86,1.725,3.14,2.005), (7.25,1.725,7.53,2.005), (9.71,1.725,9.99,2.005)])
R(nooverlap_clk, met2, [(-1.275,-3.915,-0.795,2.005), (-2.315,-2.645,-2.035,-0.08), (2.705,-2.645,2.985,0.32), (2.285,-2.23,2.565,0.735), (7.25,-2.23,7.53,2.005), (9.71,-2.23,9.99,2.005), (0.91,-1.195,1.39,2.005), (-0.565,-0.4,-0.285,2.005), (0.4,-0.4,0.68,2.005), (2.86,0.815,3.14,2.005)])
R(nooverlap_clk, hvtp, [(-1.005,-1.01,-0.075,-0.9), (0.56,-1.01,1.07,-0.9), (1.94,-1.01,2.45,-0.9), (3.165,-1.01,4.935,-0.9), (5.58,-1.01,9.03,-0.9), (9.72,-1.01,13.17,-0.9)])
R(nooverlap_clk, nsdm, [(-1.485,-3.565,-1.21,-2.665), (0.13,-3.565,0.355,-2.665), (2.655,-3.565,2.96,-2.665), (5.14,-3.565,5.375,-2.665), (9.235,-3.565,9.515,-2.665), (1.275,-2.68,1.735,-2.665), (0.895,-2.665,2.115,-2.315), (1.275,-2.315,1.735,-2.3), (1.295,-2.3,1.715,0.39), (-2.43,-0.84,-1.89,0.37), (1.275,0.39,1.735,0.405), (0.895,0.405,2.115,0.755), (0.13,0.755,0.355,1.655), (1.275,0.755,1.735,0.77), (2.655,0.755,2.96,1.655), (5.14,0.755,5.375,1.655), (9.235,0.755,9.515,1.655)])
R(nooverlap_clk, psdm, [(-2.935,-4.005,13.795,-3.585), (-1.485,-2.315,-1.21,-1.065), (0.13,-2.315,0.355,-1.065), (2.655,-2.315,2.96,-1.065), (5.14,-2.315,5.375,-1.065), (9.235,-2.315,9.515,-1.065), (-1.54,-1.065,1.275,-0.845), (1.735,-1.065,13.375,-0.845), (-1.54,-0.845,-1.21,-0.465), (0.13,-0.845,0.355,0.405), (2.655,-0.845,2.96,0.405), (5.14,-0.845,5.375,0.405), (9.235,-0.845,9.515,0.405), (-2.935,1.675,13.795,2.095)])
nooverlap_clk.add(gdstk.Reference(sky130_fd_sc_hd__nand2_1, (-1.24,1.765), x_reflection=True))
nooverlap_clk.add(gdstk.Reference(sky130_fd_sc_hd__nand2_1, (-1.24,-3.675)))
nooverlap_clk.add(gdstk.Reference(sky130_fd_sc_hd__inv_1, (-2.62,-3.675)))
nooverlap_clk.add(gdstk.Reference(sky130_fd_sc_hd__inv_1, (0.14,1.765), x_reflection=True))
nooverlap_clk.add(gdstk.Reference(sky130_fd_sc_hd__inv_1, (0.14,-3.675)))
nooverlap_clk.add(gdstk.Reference(sky130_fd_sc_hd__inv_1, (1.52,1.765), x_reflection=True))
nooverlap_clk.add(gdstk.Reference(sky130_fd_sc_hd__inv_1, (1.52,-3.675)))
nooverlap_clk.add(gdstk.Reference(sky130_fd_sc_hd__inv_4, (2.9,1.765), x_reflection=True))
nooverlap_clk.add(gdstk.Reference(sky130_fd_sc_hd__inv_4, (2.9,-3.675)))
nooverlap_clk.add(gdstk.Reference(sky130_fd_sc_hd__inv_8, (5.2,1.765), x_reflection=True))
nooverlap_clk.add(gdstk.Reference(sky130_fd_sc_hd__inv_8, (5.2,-3.675)))
nooverlap_clk.add(gdstk.Reference(sky130_fd_sc_hd__inv_8, (9.34,1.765), x_reflection=True))
nooverlap_clk.add(gdstk.Reference(sky130_fd_sc_hd__inv_8, (9.34,-3.675)))
nooverlap_clk.add(gdstk.Label('vdda', (1.15,1.765), layer=69, texttype=5))
nooverlap_clk.add(gdstk.Label('in', (-0.425,1.865), layer=69, texttype=5))
nooverlap_clk.add(gdstk.Label('vssa', (-1.035,1.765), layer=69, texttype=5))
nooverlap_clk.add(gdstk.Label('clk0', (3,1.865), layer=69, texttype=5))
nooverlap_clk.add(gdstk.Label('clkb0', (0.54,1.865), layer=69, texttype=5))
nooverlap_clk.add(gdstk.Label('clk1', (9.85,1.865), layer=69, texttype=5))
nooverlap_clk.add(gdstk.Label('clkb1', (7.39,1.865), layer=69, texttype=5))

sky130_fd_pr__nfet_01v8_ = lib.new_cell('sky130_fd_pr__nfet_01v8_SMGLWN')
R(sky130_fd_pr__nfet_01v8_, diff, [(-0.54,-0.25,0.54,0.25)])
R(sky130_fd_pr__nfet_01v8_, tap, [(-1.05,-1.12,1.05,-0.95), (-1.05,-0.95,-0.88,0.95), (0.88,-0.95,1.05,0.95), (-1.05,0.95,1.05,1.12)])
R(sky130_fd_pr__nfet_01v8_, poly, [(-0.25,-0.69,0.25,0.69)])
A(sky130_fd_pr__nfet_01v8_, licon, -0.425, -1.12, 0.17, 0.17, 3, 2, 0.34, 2.07)
A(sky130_fd_pr__nfet_01v8_, licon, -1.05, -0.595, 0.17, 0.17, 1, 4, 0, 0.34)
A(sky130_fd_pr__nfet_01v8_, licon, 0.88, -0.595, 0.17, 0.17, 1, 4, 0, 0.34)
R(sky130_fd_pr__nfet_01v8_, licon, [(-0.085,-0.61,0.085,-0.44), (-0.48,-0.085,-0.31,0.085), (0.31,-0.085,0.48,0.085), (-0.085,0.44,0.085,0.61)])
R(sky130_fd_pr__nfet_01v8_, li1, [(-1.05,-1.12,1.05,-0.95), (-1.05,-0.95,-0.88,0.95), (0.88,-0.95,1.05,0.95), (-0.25,-0.61,0.25,-0.44), (-0.48,-0.27,-0.31,0.27), (0.31,-0.27,0.48,0.27), (-0.25,0.44,0.25,0.61), (-1.05,0.95,1.05,1.12)])
R(sky130_fd_pr__nfet_01v8_, mcon, [(-0.085,-0.61,0.085,-0.44), (-0.48,-0.085,-0.31,0.085), (0.31,-0.085,0.48,0.085), (-0.085,0.44,0.085,0.61)])
R(sky130_fd_pr__nfet_01v8_, met1, [(-0.23,-0.64,0.23,-0.41), (-0.51,-0.25,-0.28,0.25), (0.28,-0.25,0.51,0.25), (-0.23,0.41,0.23,0.64)])
R(sky130_fd_pr__nfet_01v8_, nsdm, [(-0.665,-0.375,0.665,0.375)])
R(sky130_fd_pr__nfet_01v8_, psdm, [(-1.175,-1.245,1.175,-0.825), (-1.175,-0.825,-0.755,0.825), (0.755,-0.825,1.175,0.825), (-1.175,0.825,1.175,1.245)])
R(sky130_fd_pr__nfet_01v8_, npc, [(-0.185,-0.71,0.185,-0.34), (-0.185,0.34,0.185,0.71)])
R(sky130_fd_pr__nfet_01v8_, boundary, [(-0.96,-1.03,0.96,1.03)])

sky130_fd_pr__pfet_01v8_ = lib.new_cell('sky130_fd_pr__pfet_01v8_TMYSY6')
R(sky130_fd_pr__pfet_01v8_, nwell, [(-1.23,-1.845,1.23,1.845)])
R(sky130_fd_pr__pfet_01v8_, diff, [(-0.54,-0.75,0.54,0.75)])
R(sky130_fd_pr__pfet_01v8_, tap, [(-1.05,-1.665,1.05,-1.495), (-1.05,-1.495,-0.88,1.495), (0.88,-1.495,1.05,1.495), (-1.05,1.495,1.05,1.665)])
R(sky130_fd_pr__pfet_01v8_, poly, [(-0.25,-1.235,0.25,1.235)])
A(sky130_fd_pr__pfet_01v8_, licon, -0.425, -1.665, 0.17, 0.17, 3, 2, 0.34, 3.16)
A(sky130_fd_pr__pfet_01v8_, licon, -1.05, -1.105, 0.17, 0.17, 1, 7, 0, 0.34)
A(sky130_fd_pr__pfet_01v8_, licon, 0.88, -1.105, 0.17, 0.17, 1, 7, 0, 0.34)
A(sky130_fd_pr__pfet_01v8_, licon, -0.48, -0.595, 0.17, 0.17, 1, 4, 0, 0.34)
A(sky130_fd_pr__pfet_01v8_, licon, 0.31, -0.595, 0.17, 0.17, 1, 4, 0, 0.34)
R(sky130_fd_pr__pfet_01v8_, licon, [(-0.085,-1.155,0.085,-0.985), (-0.085,0.985,0.085,1.155)])
R(sky130_fd_pr__pfet_01v8_, li1, [(-1.05,-1.665,1.05,-1.495), (-1.05,-1.495,-0.88,1.495), (0.88,-1.495,1.05,1.495), (-0.25,-1.155,0.25,-0.985), (-0.48,-0.77,-0.31,0.77), (0.31,-0.77,0.48,0.77), (-0.25,0.985,0.25,1.155), (-1.05,1.495,1.05,1.665)])
A(sky130_fd_pr__pfet_01v8_, mcon, -0.48, -0.625, 0.17, 0.17, 1, 4, 0, 0.36)
A(sky130_fd_pr__pfet_01v8_, mcon, 0.31, -0.625, 0.17, 0.17, 1, 4, 0, 0.36)
R(sky130_fd_pr__pfet_01v8_, mcon, [(-0.085,-1.155,0.085,-0.985), (-0.085,0.985,0.085,1.155)])
R(sky130_fd_pr__pfet_01v8_, met1, [(-0.23,-1.185,0.23,-0.955), (-0.51,-0.75,-0.28,0.75), (0.28,-0.75,0.51,0.75), (-0.23,0.955,0.23,1.185)])
R(sky130_fd_pr__pfet_01v8_, nsdm, [(-1.175,-1.79,1.175,-1.37), (-1.175,-1.37,-0.755,1.37), (0.755,-1.37,1.175,1.37), (-1.175,1.37,1.175,1.79)])
R(sky130_fd_pr__pfet_01v8_, psdm, [(-0.665,-0.875,0.665,0.875)])
R(sky130_fd_pr__pfet_01v8_, npc, [(-0.185,-1.255,0.185,-0.885), (-0.185,0.885,0.185,1.255)])
R(sky130_fd_pr__pfet_01v8_, boundary, [(-0.965,-1.58,0.965,1.58)])

dac_sw_1 = lib.new_cell('dac_sw_1')
A(dac_sw_1, li1, 8.225, -13.03, 0.17, 1.45, 3, 1, 1.93, 0)
R(dac_sw_1, li1, [(5.765,-12.41,5.935,-11.58), (7.695,-12.41,7.865,-11.58), (3.835,-12.38,4.005,-11.58)])
A(dac_sw_1, mcon, 8.225, -12.875, 0.17, 0.17, 3, 1, 1.93, 0)
A(dac_sw_1, mcon, 3.835, -12.255, 0.17, 0.17, 3, 1, 1.93, 0)
R(dac_sw_1, met1_pin, [(3.655,-13.03,4.135,-12.55), (3.655,-12.41,4.135,-11.93)])
R(dac_sw_1, met1, [(3.655,-13.03,12.435,-12.55), (3.655,-12.41,12.435,-11.93), (4.725,-11.685,11.365,-11.425), (4.655,-11.285,5.115,-11.025), (6.585,-11.285,7.045,-11.025), (9.045,-11.285,9.505,-11.025), (10.975,-11.285,11.435,-11.025), (7.075,-10.88,9.015,-10.38), (9.535,-10.88,10.945,-10.38), (11.465,-10.88,11.785,-10.38), (4.305,-10.835,4.625,-9.335), (5.145,-10.835,6.555,-9.335), (7.075,-10.38,7.395,-9.335), (9.045,-10.235,9.505,-9.975), (10.975,-10.235,11.435,-9.975), (4.655,-9.145,5.115,-8.885), (6.585,-9.145,7.045,-8.885)])
A(dac_sw_1, via, 4.39, -10.78, 0.15, 0.15, 1, 3, 0, 0.62)
A(dac_sw_1, via, 7.16, -10.78, 0.15, 0.15, 1, 3, 0, 0.62)
R(dac_sw_1, via, [(11.55,-12.85,11.7,-12.7), (4.39,-12.23,4.54,-12.08), (4.81,-11.63,4.96,-11.48), (11.13,-11.63,11.28,-11.48), (4.81,-11.23,4.96,-11.08), (6.74,-11.23,6.89,-11.08), (9.2,-11.23,9.35,-11.08), (11.13,-11.23,11.28,-11.08), (11.55,-10.825,11.7,-10.675), (9.2,-10.18,9.35,-10.03), (11.13,-10.18,11.28,-10.03), (4.81,-9.09,4.96,-8.94), (6.74,-9.09,6.89,-8.94)])
R(dac_sw_1, met2_pin, [(6.685,-11.285,6.945,-11.025), (9.145,-11.285,9.405,-11.025), (11.075,-10.235,11.335,-9.975), (7.105,-9.595,7.365,-9.335)])
R(dac_sw_1, met2, [(11.485,-13.03,11.765,-10.59), (4.325,-12.41,4.605,-9.305), (4.745,-11.715,5.025,-8.855), (11.065,-11.715,11.345,-9.945), (6.675,-11.315,6.955,-8.855), (9.135,-11.315,9.415,-9.945), (7.095,-10.865,7.375,-9.305)])
dac_sw_1.add(gdstk.Reference(sky130_fd_pr__nfet_01v8_, (11.205,-10.63)))
dac_sw_1.add(gdstk.Reference(sky130_fd_pr__nfet_01v8_, (9.275,-10.63)))
dac_sw_1.add(gdstk.Reference(sky130_fd_pr__pfet_01v8_, (6.815,-10.085)))
dac_sw_1.add(gdstk.Reference(sky130_fd_pr__pfet_01v8_, (4.885,-10.085)))
dac_sw_1.add(gdstk.Label('vdda', (3.895,-12.17), layer=68, texttype=5))
dac_sw_1.add(gdstk.Label('in', (11.205,-10.105), layer=69, texttype=5))
dac_sw_1.add(gdstk.Label('ck', (9.275,-11.155), layer=69, texttype=5))
dac_sw_1.add(gdstk.Label('ckb', (6.815,-11.155), layer=69, texttype=5))
dac_sw_1.add(gdstk.Label('vssa', (3.895,-12.79), layer=68, texttype=5))
dac_sw_1.add(gdstk.Label('out', (7.235,-9.465), layer=69, texttype=5))

tg_sw_1 = lib.new_cell('tg_sw_1')
R(tg_sw_1, li1, [(6.34,-10.84,6.51,-9.39), (8.27,-10.84,8.44,-9.39), (3.88,-10.22,4.05,-9.39), (5.81,-10.22,5.98,-9.39)])
R(tg_sw_1, mcon, [(6.34,-10.685,6.51,-10.515), (8.27,-10.685,8.44,-10.515), (3.88,-10.065,4.05,-9.895), (5.81,-10.065,5.98,-9.895)])
R(tg_sw_1, met1_pin, [(3.7,-11.27,3.99,-10.98), (3.7,-10.84,4.18,-10.36), (3.7,-10.22,4.18,-9.74)])
R(tg_sw_1, met1, [(3.7,-11.27,8.62,-10.98), (3.7,-10.84,8.62,-10.36), (3.7,-10.22,8.62,-9.74), (4.35,-9.495,7.97,-9.235), (4.7,-9.095,5.16,-8.835), (7.16,-9.095,7.62,-8.835), (5.19,-8.69,7.13,-8.19), (7.65,-8.69,7.97,-8.19), (4.35,-8.645,4.67,-7.145), (5.19,-8.19,5.51,-7.145), (7.16,-8.045,7.62,-7.785), (4.7,-6.955,5.16,-6.695)])
A(tg_sw_1, via, 4.435, -8.59, 0.15, 0.15, 1, 3, 0, 0.62)
A(tg_sw_1, via, 5.275, -8.59, 0.15, 0.15, 1, 3, 0, 0.62)
R(tg_sw_1, via, [(4.435,-11.185,4.585,-11.035), (4.435,-9.44,4.585,-9.29), (7.735,-9.44,7.885,-9.29), (4.855,-9.04,5.005,-8.89), (7.315,-9.04,7.465,-8.89), (7.735,-8.635,7.885,-8.485), (7.315,-7.99,7.465,-7.84), (4.855,-6.9,5.005,-6.75)])
R(tg_sw_1, met2_pin, [(4.8,-9.095,5.06,-8.835), (7.26,-9.095,7.52,-8.835), (5.22,-7.405,5.48,-7.145)])
R(tg_sw_1, met2, [(4.37,-11.27,4.65,-7.115), (7.67,-9.525,7.95,-8.4), (4.79,-9.125,5.07,-6.665), (7.25,-9.125,7.53,-7.755), (5.21,-8.675,5.49,-7.115)])
tg_sw_1.add(gdstk.Reference(sky130_fd_pr__nfet_01v8_, (7.39,-8.44)))
tg_sw_1.add(gdstk.Reference(sky130_fd_pr__pfet_01v8_, (4.93,-7.895)))
tg_sw_1.add(gdstk.Label('vdda', (3.94,-9.98), layer=68, texttype=5))
tg_sw_1.add(gdstk.Label('swp', (4.93,-8.965), layer=69, texttype=5))
tg_sw_1.add(gdstk.Label('swn', (7.39,-8.965), layer=69, texttype=5))
tg_sw_1.add(gdstk.Label('vssa', (3.94,-10.6), layer=68, texttype=5))
tg_sw_1.add(gdstk.Label('in', (3.845,-11.125), layer=68, texttype=5))
tg_sw_1.add(gdstk.Label('out', (5.35,-7.275), layer=69, texttype=5))

cdac_sw_1 = lib.new_cell('cdac_sw_1')
R(cdac_sw_1, met1_pin, [(16.115,-22.76,16.405,-22.47), (15.925,-22.33,16.405,-21.85), (15.925,-21.71,16.405,-21.23)])
R(cdac_sw_1, met1, [(0.305,-22.76,16.405,-22.47), (1.65,-22.33,2.13,-21.88), (14.005,-22.33,16.405,-21.85), (3.835,-21.71,4.315,-21.26), (14.005,-21.71,16.405,-21.23)])
R(cdac_sw_1, via, [(1.815,-22.18,1.965,-22.03), (4,-21.56,4.15,-21.41)])
R(cdac_sw_1, met2, [(1.65,-23.38,2.13,-21.85), (3.835,-23.38,4.315,-21.23), (2.36,-23.18,2.64,-20.265), (3.325,-23.18,3.605,-20.315), (5.785,-23.18,6.065,-20.315), (10.175,-23.18,10.455,-20.315), (12.635,-23.18,12.915,-20.315), (7.715,-19.95,7.995,-19.67), (3.745,-19.31,4.025,-19.03), (10.595,-19.31,10.875,-19.03)])
R(cdac_sw_1, via2, [(2.4,-20.55,2.6,-20.35), (7.755,-19.91,7.955,-19.71), (3.785,-19.27,3.985,-19.07), (10.635,-19.27,10.835,-19.07)])
A(cdac_sw_1, met3_pin, 16.065, -20.62, 0.34, 0.34, 1, 3, 0, 0.64)
R(cdac_sw_1, met3, [(2.335,-20.62,16.405,-20.28), (7.69,-19.98,16.405,-19.64), (3.72,-19.34,16.405,-19)])
cdac_sw_1.add(gdstk.Reference(nooverlap_clk, (2.925,-24.905)))
cdac_sw_1.add(gdstk.Reference(dac_sw_1, (-3.35,-9.3)))
cdac_sw_1.add(gdstk.Reference(tg_sw_1, (5.385,-11.49)))
cdac_sw_1.add(gdstk.Label('vdda', (16.165,-21.47), layer=68, texttype=5))
cdac_sw_1.add(gdstk.Label('cki', (16.235,-20.45), layer=70, texttype=5))
cdac_sw_1.add(gdstk.Label('bi', (16.235,-19.81), layer=70, texttype=5))
cdac_sw_1.add(gdstk.Label('vcm', (16.26,-22.615), layer=68, texttype=5))
cdac_sw_1.add(gdstk.Label('vssa', (16.165,-22.09), layer=68, texttype=5))
cdac_sw_1.add(gdstk.Label('dac_out', (16.235,-19.17), layer=70, texttype=5))

lib.write_gds('cdac_sw_1.gds')
